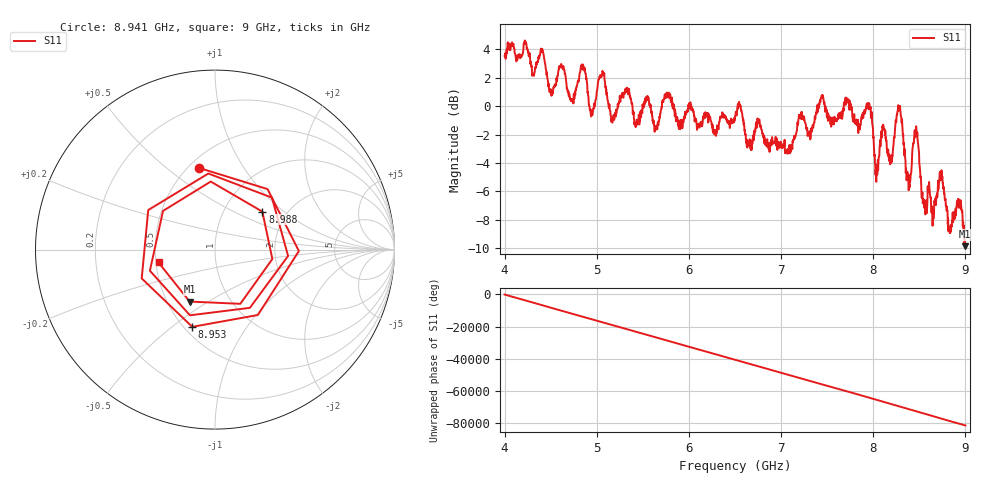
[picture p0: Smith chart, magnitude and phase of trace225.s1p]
! Created with skrf 1.8.0 (http://scikit-rf.org).
# Hz S RI R 50.0
!freq ReS11 ImS11
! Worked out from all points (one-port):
!   1601 points, 4 GHz to 9 GHz, reference 50 ohm
!   lowest |S11| = -9.8 dB at 8.997 GHz (marker M1), VSWR 1.95, Z = 32.3 - j20.9 ohm
!   |S11| at or under -10 dB: nowhere
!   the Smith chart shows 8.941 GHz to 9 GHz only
!   S11 on the Smith chart (normalised r, x): 8.941 GHz: 0.56, +0.65; 8.953 GHz: 0.55, -0.59; 8.988 GHz: 1.51, +0.72; 9 GHz: 0.52, -0.08
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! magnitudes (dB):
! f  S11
! 4 GHz  3.5
! 4.403 GHz  4.0
! 4.506 GHz  0.8
! 4.625 GHz  2.7
! 4.734 GHz  0.3
! 4.853 GHz  2.8
! 4.947 GHz  -0.3
! 5.056 GHz  2.2
! 5.166 GHz  -0.8
! 5.25 GHz  0.7
! 5.875 GHz  -0.8
! 6.5 GHz  -0.9
! 7.125 GHz  -2.5
! 7.438 GHz  0.6
! 7.75 GHz  0.1
! 7.953 GHz  0.2
! 8.038 GHz  -4.1
! 8.288 GHz  0.0
! 8.375 GHz  -5.2
! 8.462 GHz  -1.8
! 8.562 GHz  -7.0
! 8.728 GHz  -4.6
! 8.834 GHz  -8.8
! 8.941 GHz  -6.7
! 8.953 GHz  -7.0
! 8.988 GHz  -9.4
! 8.997 GHz  -9.8
! 9 GHz  -9.8
